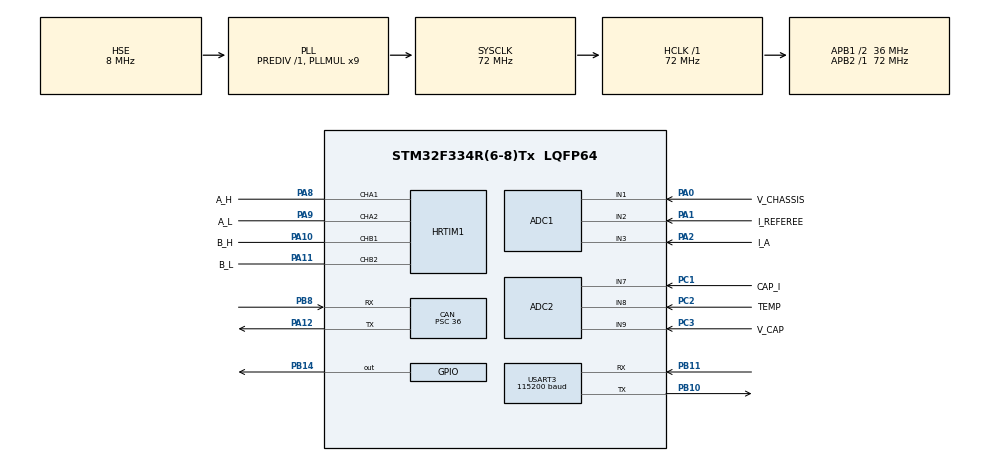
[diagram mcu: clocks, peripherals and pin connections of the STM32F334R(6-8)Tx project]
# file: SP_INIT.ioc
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ADC1.Channel-0\#ChannelRegularConversion=ADC_CHANNEL_1
ADC1.Channel-1\#ChannelRegularConversion=ADC_CHANNEL_2
ADC1.Channel-2\#ChannelRegularConversion=ADC_CHANNEL_3
ADC1.ContinuousConvMode=DISABLE
ADC1.DMAContinuousRequests=ENABLE
ADC1.EOCSelection=ADC_EOC_SEQ_CONV
ADC1.EnableInjectedConversion=ENABLE
ADC1.ExternalTrigConv=ADC_EXTERNALTRIGCONVHRTIM_TRG1
ADC1.NbrOfConversion=3
ADC1.NbrOfConversionFlag=1
ADC1.Offset-0\#ChannelRegularConversion=0
ADC1.Offset-1\#ChannelRegularConversion=0
ADC1.Offset-2\#ChannelRegularConversion=0
ADC1.OffsetNumber-0\#ChannelRegularConversion=ADC_OFFSET_NONE
ADC1.OffsetNumber-1\#ChannelRegularConversion=ADC_OFFSET_NONE
ADC1.OffsetNumber-2\#ChannelRegularConversion=ADC_OFFSET_NONE
ADC1.Rank-0\#ChannelRegularConversion=1
ADC1.Rank-1\#ChannelRegularConversion=2
ADC1.Rank-2\#ChannelRegularConversion=3
ADC1.SamplingTime-0\#ChannelRegularConversion=ADC_SAMPLETIME_7CYCLES_5
ADC1.SamplingTime-1\#ChannelRegularConversion=ADC_SAMPLETIME_7CYCLES_5
ADC1.SamplingTime-2\#ChannelRegularConversion=ADC_SAMPLETIME_7CYCLES_5
ADC1.SubFamily=STM32F334x8
ADC1.master=1
ADC2.Channel-0\#ChannelRegularConversion=ADC_CHANNEL_7
ADC2.Channel-1\#ChannelRegularConversion=ADC_CHANNEL_8
ADC2.Channel-2\#ChannelRegularConversion=ADC_CHANNEL_9
ADC2.DMAContinuousRequests=ENABLE
ADC2.EOCSelection=ADC_EOC_SEQ_CONV
ADC2.ExternalTrigConv=ADC_EXTERNALTRIGCONVHRTIM_TRG3
ADC2.NbrOfConversion=3
ADC2.NbrOfConversionFlag=1
ADC2.Offset-0\#ChannelRegularConversion=0
ADC2.Offset-1\#ChannelRegularConversion=0
ADC2.Offset-2\#ChannelRegularConversion=0
ADC2.OffsetNumber-0\#ChannelRegularConversion=ADC_OFFSET_NONE
ADC2.OffsetNumber-1\#ChannelRegularConversion=ADC_OFFSET_NONE
ADC2.OffsetNumber-2\#ChannelRegularConversion=ADC_OFFSET_NONE
ADC2.Rank-0\#ChannelRegularConversion=1
ADC2.Rank-1\#ChannelRegularConversion=2
ADC2.Rank-2\#ChannelRegularConversion=3
ADC2.SamplingTime-0\#ChannelRegularConversion=ADC_SAMPLETIME_7CYCLES_5
ADC2.SamplingTime-1\#ChannelRegularConversion=ADC_SAMPLETIME_7CYCLES_5
ADC2.SamplingTime-2\#ChannelRegularConversion=ADC_SAMPLETIME_7CYCLES_5
ADC2.SamplingTimeOPAMP-1\#ChannelRegularConversion=ADC_SAMPLETIME_61CYCLES_5
ADC2.SamplingTimeOPAMP-2\#ChannelRegularConversion=ADC_SAMPLETIME_61CYCLES_5
ADC2.SubFamily=STM32F334x8
CAN.BS1=CAN_BS1_8TQ
CAN.CalculateBaudRate=100000
CAN.CalculateTimeBit=10000
CAN.CalculateTimeQuantum=1000.0
CAN.Prescaler=36
Dma.ADC1.0.Direction=DMA_PERIPH_TO_MEMORY
Dma.ADC1.0.Instance=DMA1_Channel1
Dma.ADC1.0.MemDataAlignment=DMA_MDATAALIGN_HALFWORD
Dma.ADC1.0.MemInc=DMA_MINC_ENABLE
Dma.ADC1.0.Mode=DMA_CIRCULAR
Dma.ADC1.0.PeriphDataAlignment=DMA_PDATAALIGN_HALFWORD
Dma.ADC1.0.PeriphInc=DMA_PINC_DISABLE
Dma.ADC1.0.Priority=DMA_PRIORITY_VERY_HIGH
Dma.ADC2.1.Direction=DMA_PERIPH_TO_MEMORY
Dma.ADC2.1.Instance=DMA1_Channel2
Dma.ADC2.1.MemDataAlignment=DMA_MDATAALIGN_HALFWORD
Dma.ADC2.1.MemInc=DMA_MINC_ENABLE
Dma.ADC2.1.Mode=DMA_CIRCULAR
Dma.ADC2.1.PeriphDataAlignment=DMA_PDATAALIGN_HALFWORD
Dma.ADC2.1.PeriphInc=DMA_PINC_DISABLE
Dma.ADC2.1.Priority=DMA_PRIORITY_VERY_HIGH
Dma.Request0=ADC1
Dma.Request1=ADC2
HRTIM1.ADCTrigger1_Source1=HRTIM_ADCTRIGGEREVENT13_TIMERA_CMP2
HRTIM1.ADCTrigger3_Source1=HRTIM_ADCTRIGGEREVENT13_TIMERB_CMP2
HRTIM1.ADCTrigger_Id1=HRTIM_ADCTRIGGER_1
HRTIM1.ADCTrigger_Id2=__NULL
HRTIM1.ADCTrigger_Id3=HRTIM_ADCTRIGGER_3
HRTIM1.CompareUnit1-MasterTimer=__NULL
HRTIM1.CompareUnit1-Output_TA1TA2=HRTIM_COMPAREUNIT_1
HRTIM1.CompareUnit1-Output_TB1TB2=HRTIM_COMPAREUNIT_1
HRTIM1.CompareUnit2-Output_TA1TA2=HRTIM_COMPAREUNIT_2
HRTIM1.CompareUnit2-Output_TB1TB2=HRTIM_COMPAREUNIT_2
HRTIM1.CompareUnit3-MasterTimer=__NULL
HRTIM1.CompareUnit3-Output_TA1TA2=HRTIM_COMPAREUNIT_3
HRTIM1.CompareUnit3-Output_TB1TB2=HRTIM_COMPAREUNIT_3
HRTIM1.CompareValue1-Output_TA1TA2=100
HRTIM1.CompareValue1-Output_TB1TB2=100
HRTIM1.CompareValue2-Output_TA1TA2=180
HRTIM1.CompareValue2-Output_TB1TB2=180
HRTIM1.CompareValue3-Output_TA1TA2=260
HRTIM1.CompareValue3-Output_TB1TB2=260
HRTIM1.DeadTimeInsertion-Output_TA1TA2=HRTIM_TIMDEADTIMEINSERTION_ENABLED
HRTIM1.DeadTimeInsertion-Output_TB1TB2=HRTIM_TIMDEADTIMEINSERTION_ENABLED
HRTIM1.Event_EEV1=__NULL
HRTIM1.FallingValue-Output_TA1TA2=50
HRTIM1.FallingValue-Output_TB1TB2=50
HRTIM1.HRTIMInterruptResquests1=HRTIM_IT_NONE
HRTIM1.IdleMode1-Output_TA1TA2=HRTIM_OUTPUTIDLEMODE_NONE
HRTIM1.InterruptRequests1_Master=HRTIM_MASTER_IT_MREP
HRTIM1.NumberADCTriggerSource1=1
HRTIM1.NumberADCTriggerSource3=1
HRTIM1.NumberInterruptRequests_Master-MasterTimer=1
HRTIM1.NumberResetSource1-Output_TA1TA2=1
HRTIM1.NumberResetSource1-Output_TB1TB2=1
HRTIM1.NumberResetSource2_TA=0
HRTIM1.NumberResetSource2_TB=0
HRTIM1.NumberResetTrigger-Output_TA1TA2=1
HRTIM1.NumberResetTrigger-Output_TB1TB2=1
HRTIM1.NumberSetSource1-Output_TA1TA2=1
HRTIM1.NumberSetSource1-Output_TB1TB2=1
HRTIM1.ORingUpdateSource_ADCTrigger1=HRTIM_ADCTRIGGERUPDATE_MASTER
HRTIM1.Periode_MASTER=360
HRTIM1.Periode_TA=360
HRTIM1.Periode_TB=360
HRTIM1.PreloadEnable-MasterTimer=HRTIM_PRELOAD_ENABLED
HRTIM1.PreloadEnable-Output_TA1TA2=HRTIM_PRELOAD_DISABLED
HRTIM1.RepetitionCounter-MasterTimer=7
HRTIM1.RepetitionUpdate-MasterTimer=HRTIM_UPDATEONREPETITION_ENABLED
HRTIM1.ResetOutput1_Source1-Output_TA1TA2=HRTIM_OUTPUTRESET_TIMCMP3
HRTIM1.ResetOutput1_Source1-Output_TB1TB2=HRTIM_OUTPUTRESET_TIMCMP3
HRTIM1.ResetTrigger1-Output_TA1TA2=HRTIM_TIMRESETTRIGGER_MASTER_PER
HRTIM1.ResetTrigger1-Output_TB1TB2=HRTIM_TIMRESETTRIGGER_MASTER_PER
HRTIM1.ResetUpdate-Output_TB1TB2=HRTIM_TIMUPDATEONRESET_DISABLED
HRTIM1.RisingValue-Output_TA1TA2=50
HRTIM1.RisingValue-Output_TB1TB2=50
HRTIM1.SetOutput1_Source1-Output_TA1TA2=HRTIM_OUTPUTSET_TIMCMP1
HRTIM1.SetOutput1_Source1-Output_TB1TB2=HRTIM_OUTPUTSET_TIMCMP1
Mcu.Family=STM32F3
Mcu.Name=STM32F334R(6-8)Tx
Mcu.Package=LQFP64
NVIC.CAN_RX0_IRQn=true\:0\:0\:false\:false\:true\:true\:true\:true
NVIC.DMA1_Channel1_IRQn=true\:5\:0\:true\:false\:true\:false\:true\:true
NVIC.DMA1_Channel2_IRQn=true\:5\:0\:true\:false\:true\:false\:true\:true
NVIC.HRTIM1_Master_IRQn=true\:0\:0\:false\:false\:true\:true\:true\:true
NVIC.PriorityGroup=NVIC_PRIORITYGROUP_4
NVIC.USART3_IRQn=true\:0\:0\:false\:false\:true\:true\:true\:true
PA0.GPIO_Label=V_CHASSIS
PA0.Mode=IN1-Single-Ended
PA0.Signal=ADC1_IN1
PA1.GPIO_Label=I_REFEREE
PA1.Mode=IN2-Single-Ended
PA1.Signal=ADC1_IN2
PA10.GPIO_Label=B_H
PA10.Mode=Output_TB1TB2
PA10.Signal=HRTIM1_CHB1
PA11.GPIO_Label=B_L
PA11.Mode=Output_TB1TB2
PA11.Signal=HRTIM1_CHB2
PA12.Mode=CAN_Activate
PA12.Signal=CAN_TX
PA13.Mode=Serial_Wire
PA13.Signal=SYS_JTMS-SWDIO
PA14.Mode=Serial_Wire
PA14.Signal=SYS_JTCK-SWCLK
PA2.GPIO_Label=I_A
PA2.Mode=IN3-Single-Ended
PA2.Signal=ADC1_IN3
PA8.GPIO_Label=A_H
PA8.Mode=Output_TA1TA2
PA8.Signal=HRTIM1_CHA1
PA9.GPIO_Label=A_L
PA9.Mode=Output_TA1TA2
PA9.Signal=HRTIM1_CHA2
PB10.Mode=Asynchronous
PB10.Signal=USART3_TX
PB11.Mode=Asynchronous
PB11.Signal=USART3_RX
PB14.Signal=GPIO_Output
PB8.Mode=CAN_Activate
PB8.Signal=CAN_RX
PC1.GPIO_Label=CAP_I
PC1.Signal=ADCx_IN7
PC2.GPIO_Label=TEMP
PC2.Signal=ADCx_IN8
PC3.GPIO_Label=V_CAP
PC3.Signal=ADCx_IN9
PF0\ /\ OSC_IN.Mode=HSE-External-Oscillator
PF0\ /\ OSC_IN.Signal=RCC_OSC_IN
PF1\ /\ OSC_OUT.Mode=HSE-External-Oscillator
PF1\ /\ OSC_OUT.Signal=RCC_OSC_OUT
ProjectManager.HeapSize=0x200
ProjectManager.StackSize=0x400
ProjectManager.TargetToolchain=MDK-ARM V5
RCC.AHBFreq_Value=72000000
RCC.APB1CLKDivider=RCC_HCLK_DIV2
RCC.APB1Freq_Value=36000000
RCC.APB1TimFreq_Value=72000000
RCC.APB2Freq_Value=72000000
RCC.APB2TimFreq_Value=72000000
RCC.CortexFreq_Value=72000000
RCC.HCLKFreq_Value=72000000
RCC.HSE_VALUE=8000000
RCC.HSI_VALUE=8000000
RCC.LSE_VALUE=32768
RCC.PLLMUL=RCC_PLL_MUL9
RCC.PLLSourceVirtual=RCC_PLLSOURCE_HSE
RCC.SYSCLKFreq_VALUE=72000000
RCC.SYSCLKSourceVirtual=RCC_SYSCLKSOURCE_PLLCLK
SH.ADCx_IN7.0=ADC2_IN7,IN7-Single-Ended
SH.ADCx_IN8.0=ADC2_IN8,IN8-Single-Ended
SH.ADCx_IN9.0=ADC2_IN9,IN9-Single-Ended
USART3.BaudRate=115200
USART3.VirtualMode-Asynchronous=VM_ASYNC
VP_HRTIM1_VS_hrtimMasterTimerNoOutput.Mode=MasterTimer
board=custom

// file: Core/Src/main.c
/* USER CODE BEGIN Header */
/**
 ******************************************************************************
 * @file           : main.c
 * @brief          : Main program body
 ******************************************************************************
 * @attention
 *
 * Copyright (c) 2026 STMicroelectronics.
 * All rights reserved.
 *
 * This software is licensed under terms that can be found in the LICENSE file
 * in the root directory of this software component.
 * If no LICENSE file comes with this software, it is provided AS-IS.
 *
 ******************************************************************************
 */
/* USER CODE END Header */
#include "main.h"
#include "adc.h"
#include "can.h"
#include "dma.h"
#include "hrtim.h"
#include "usart.h"
#include "gpio.h"

/* USER CODE BEGIN Includes */
#include "ADC_FUNCTION.h"
#include "PWM_ctrl.h"
#include "CAN_bsp.h"
#include "pid.h"
#include "cap_charge.h"
#include "string.h"
#include "math.h"
/* USER CODE END Includes */

/* USER CODE BEGIN PV */
#define TIMERA_PERIOD 360U // pwm周期tick值

#define CHARGE_CURRENT 3.0f  // 3.0f
#define OUTPUT_VOLTAGE 24.0f // 两个是pid目标，对应充放电的时候

#define CTRL_PWM_START_TICKS (2U) // 可按示波器观测调整：1~10 都可以，防止0u的时候打不开pwm输出，加上偏移

extern uint16_t adc1_raw_data[3]; // ADC1: [0]=V_CHASSIS [1]=I_REFEREE [2]=I_CHASSIS  //裁判系统视为恒压源24V
extern uint16_t adc2_raw_data[3]; // ADC2: [0]=CAP_I     [1]=TEMP      [2]=V_CAP      //温度用不到，不管

extern volatile float RE_V_CHASSIS; // 底盘电压
extern volatile float RE_V_CAP;     // 电容电压
extern volatile float RE_I_REFEREE; // 裁判系统电流
extern volatile float RE_I_CHASSIS; // 底盘电流
extern volatile float RE_CAP_I;     // 电容电流
extern volatile float TEMP;         // 温度通道

volatile unsigned long g_dbg_main_heartbeat = 0;
volatile unsigned long g_dbg_hrtim_irq_seen = 0;
volatile unsigned char g_dbg_pwm_outputs_enabled = 0;
volatile unsigned long g_dbg_hrtim_master_cnt = 0;

extern CAN_HandleTypeDef hcan;
extern HRTIM_HandleTypeDef hhrtim1;

PID_TypeDef pid_charge;    // 充电恒流控制
PID_TypeDef pid_discharge; // 放电恒压控制
/* USER CODE END PV */

void SystemClock_Config(void);

int main(void)
{

  /* MCU Configuration--------------------------------------------------------*/

  /* Reset of all peripherals, Initializes the Flash interface and the Systick. */
  HAL_Init();

  /* Configure the system clock */
  SystemClock_Config();

  /* Initialize all configured peripherals */
  MX_GPIO_Init();
  MX_DMA_Init();
  MX_HRTIM1_Init();
  MX_ADC1_Init();
  MX_ADC2_Init();
  MX_CAN_Init();
  MX_USART3_UART_Init();
  /* USER CODE BEGIN 2 */
  can_filter_init();

  ADCF_Init();
  ADCF_Start();

  CAP_Init(); // 初始化安全值

  PID_InitAll();

  HRTIM_UpdateHighDuty(0.0f, 0.0f);

  if (HAL_HRTIM_WaveformCounterStart_IT(&hhrtim1,
                                        HRTIM_TIMERID_MASTER | HRTIM_TIMERID_TIMER_A | HRTIM_TIMERID_TIMER_B) != HAL_OK)
  {
    Error_Handler();
  }

  HAL_HRTIM_WaveformOutputStart(&hhrtim1, HRTIM_OUTPUT_TA1 | HRTIM_OUTPUT_TA2 | HRTIM_OUTPUT_TB1 | HRTIM_OUTPUT_TB2);
  /* USER CODE END 2 */

  /* Infinite loop */
  /* USER CODE BEGIN WHILE */
  while (1)
  {
    PID_InitAll();

    uint32_t last_uart_tick = 0;
    static uint8_t send_data[24];
    static float current_duty = 0.0f;

    // 进入充电阶段前，等待外部电源真正接通
    // 避免放电结束退出后，电源还没接好就进入闭环从而导致积分器死锁或短路保护
    while (1)
    {
      if (ADC_Process())
      {
        HRTIM_UpdateHighDuty(0.0f, 0.0f);
        if (RE_V_CHASSIS >= 23.5f)
        {
          PID_InitAll(); // 接通瞬间立刻清空积分，防止突变
          break;
        }
      }

      uint32_t current_tick = HAL_GetTick();
      if (current_tick - last_uart_tick >= 10)
      {
        last_uart_tick = current_tick;
        float cap_i = RE_CAP_I;
        float cap_v = RE_V_CAP;
        float zero_duty = 0.0f;
        uint8_t tail[4] = {0x00, 0x00, 0x80, 0x7F};
        memcpy(&send_data[0], &zero_duty, 4);
        memcpy(&send_data[4], &cap_i, 4);
        memcpy(&send_data[8], &cap_v, 4);
        memcpy(&send_data[20], tail, 4);
        if (huart3.gState == HAL_UART_STATE_READY)
        {
          HAL_UART_Transmit_IT(&huart3, send_data, sizeof(send_data));
        }
      }
    }

    // 充电逻辑
    while (1)
    {
      // 只有当ADC完成了8次采样平均（25kHz频率）后，才执行一次PID控制
      if (ADC_Process())
      {
        // 这一行写数据侦测，也就是保护
        if ((RE_V_CAP >= 26.0f) || (RE_CAP_I >= 25.0f) || (RE_CAP_I <= -25.0f))
        {
          // 锁存，本次放弃使用超电
          HAL_HRTIM_WaveformOutputStop(&hhrtim1, HRTIM_OUTPUT_TA1 | HRTIM_OUTPUT_TA2 |
                                                     HRTIM_OUTPUT_TB1 | HRTIM_OUTPUT_TB2);
          Error_Handler();
        }

        // 恒流充电 PID 控制 (25kHz)
        float pid_out = PID_Calculate(&pid_charge, -RE_CAP_I, CHARGE_CURRENT);

        // 【解决带电启动反灌问题】前馈控制：计算当前电容与底盘的理论平衡占空比
        float v_in = (RE_V_CHASSIS > 10.0f) ? RE_V_CHASSIS : 24.0f;
        float duty_ff = RE_V_CAP / v_in;
        if (duty_ff > 0.95f)
          duty_ff = 0.95f;
        if (duty_ff < 0.0f)
          duty_ff = 0.0f;

        // 实际占空比 = 前馈平衡占空比 + PID微调
        current_duty = PID_Output_To_Duty(&pid_charge, pid_out) + duty_ff;
        if (current_duty > 1.0f)
          current_duty = 1.0f;
        if (current_duty < 0.0f)
          current_duty = 0.0f;

        float a_high, b_high;
        Charge_buck(current_duty, &a_high, &b_high);
        HRTIM_UpdateHighDuty(a_high, b_high);
      }

      // 非阻塞定时发送串口数据，100Hz (10ms一次)，不再阻塞主循环
      uint32_t current_tick = HAL_GetTick();
      if (current_tick - last_uart_tick >= 10)
      {
        last_uart_tick = current_tick;

        float cap_i = RE_CAP_I;
        float cap_v = RE_V_CAP;
        uint8_t tail[4] = {0x00, 0x00, 0x80, 0x7F};
        memcpy(&send_data[0], &current_duty, 4);
        memcpy(&send_data[4], &cap_i, 4);
        memcpy(&send_data[8], &cap_v, 4);
        memcpy(&send_data[20], tail, 4);
        // 使用IT非阻塞发送，如果此时没发完会返回Busy，但由于10ms远大于发送需要的1ms，基本不会冲突
        if (huart3.gState == HAL_UART_STATE_READY)
        {
          HAL_UART_Transmit_IT(&huart3, send_data, sizeof(send_data));
        }
      }

      // 这一行数据侦测，但是是电容组的电压，到24v停止充电，break进入轮询（等待冲刺模式下发）
      if (RE_V_CAP >= 23.5f)
      {
        break;
      }
      // 完全移除 HAL_Delay(1); 让主循环始终以最高速检测 ADC 完成标志
    }

    // 等待can的消息控制

    PID_InitAll();

    uint32_t last_uart_tick_dis = 0;
    static float current_duty_dis = 1.0f; // 初始占空比 1.0 (不起压，直通状态)

    // 放电逻辑
    while (1)
    {
      // 第二个循环：恒压输出放电，25kHz同步控制
      if (ADC_Process())
      {
        // 依旧保留致命硬件级保护：
        if ((RE_V_CAP >= 26.0f) || (RE_CAP_I >= 25.0f) || (RE_CAP_I <= -25.0f))
        {
          // 锁存，本次放弃使用超电
          HAL_HRTIM_WaveformOutputStop(&hhrtim1, HRTIM_OUTPUT_TA1 | HRTIM_OUTPUT_TA2 |
                                                     HRTIM_OUTPUT_TB1 | HRTIM_OUTPUT_TB2);
          Error_Handler();
        }

        // 业务保护：放电电容电压过低 或 电流绝对值超过15A
        float abs_cap_i = (RE_CAP_I > 0) ? RE_CAP_I : -RE_CAP_I;
        if (RE_V_CAP <= 10.0f || abs_cap_i >= 15.0f)
        {
          // 退出放电循环，回到重新充电阶段
          break;
        }

        // 这一行写pid控制恒定电压输出，boost模式。
        // 目标是 OUTPUT_VOLTAGE (24V), 当前测量为 RE_V_CHASSIS
        float pid_out = PID_Calculate(&pid_discharge, RE_V_CHASSIS, OUTPUT_VOLTAGE);

        // 根据 Boost 逻辑：B端占空比d越大，升压越小。最大升压幅度受到限制。
        // 如果欠压了（Measure < Target），误差Err > 0，pid_out增大
        // 我们需要它增大的时候，占空比d反而减小进而提升电压。
        float duty_reduction = PID_Output_To_Duty(&pid_discharge, pid_out);
        current_duty_dis = 1.0f - duty_reduction;

        // 底线安全占空比限制：不要让它降得太低（例如低于0.2等同于五倍的暴力升压，非常危险）
        if (current_duty_dis < 0.2f)
          current_duty_dis = 0.2f;
        if (current_duty_dis > 1.0f)
          current_duty_dis = 1.0f;

        float a_high, b_high;
        Output_boost(current_duty_dis, &a_high, &b_high);
        HRTIM_UpdateHighDuty(a_high, b_high);
      }

      // 非阻塞定时发送串口数据
      uint32_t current_tick = HAL_GetTick();
      if (current_tick - last_uart_tick_dis >= 10)
      {
        last_uart_tick_dis = current_tick;

        float cap_i = RE_CAP_I;
        float cap_v = RE_V_CAP;
        // 放电时主看恒压输出能力，传出 chassis_v
        float chassis_v = RE_V_CHASSIS;
        float chassis_i = RE_I_CHASSIS;

        uint8_t tail[4] = {0x00, 0x00, 0x80, 0x7F};

        memcpy(&send_data[0], &current_duty_dis, 4);
        memcpy(&send_data[4], &cap_i, 4);
        memcpy(&send_data[8], &cap_v, 4);
        memcpy(&send_data[12], &chassis_v, 4);
        memcpy(&send_data[16], &chassis_i, 4);
        memcpy(&send_data[20], tail, 4);

        if (huart3.gState == HAL_UART_STATE_READY)
        {
          HAL_UART_Transmit_IT(&huart3, send_data, sizeof(send_data));
        }
      }
    }
    /* USER CODE END WHILE */

  }
}

void SystemClock_Config(void)
{
  RCC_OscInitTypeDef RCC_OscInitStruct = {0};
  RCC_ClkInitTypeDef RCC_ClkInitStruct = {0};
  RCC_PeriphCLKInitTypeDef PeriphClkInit = {0};

  /** Initializes the RCC Oscillators according to the specified parameters
   * in the RCC_OscInitTypeDef structure.
   */
  RCC_OscInitStruct.OscillatorType = RCC_OSCILLATORTYPE_HSE;
  RCC_OscInitStruct.HSEState = RCC_HSE_ON;
  RCC_OscInitStruct.HSEPredivValue = RCC_HSE_PREDIV_DIV1;
  RCC_OscInitStruct.HSIState = RCC_HSI_ON;
  RCC_OscInitStruct.PLL.PLLState = RCC_PLL_ON;
  RCC_OscInitStruct.PLL.PLLSource = RCC_PLLSOURCE_HSE;
  RCC_OscInitStruct.PLL.PLLMUL = RCC_PLL_MUL9;
  if (HAL_RCC_OscConfig(&RCC_OscInitStruct) != HAL_OK)
  {
    Error_Handler();
  }

  /** Initializes the CPU, AHB and APB buses clocks
   */
  RCC_ClkInitStruct.ClockType = RCC_CLOCKTYPE_HCLK | RCC_CLOCKTYPE_SYSCLK | RCC_CLOCKTYPE_PCLK1 | RCC_CLOCKTYPE_PCLK2;
  RCC_ClkInitStruct.SYSCLKSource = RCC_SYSCLKSOURCE_PLLCLK;
  RCC_ClkInitStruct.AHBCLKDivider = RCC_SYSCLK_DIV1;
  RCC_ClkInitStruct.APB1CLKDivider = RCC_HCLK_DIV2;
  RCC_ClkInitStruct.APB2CLKDivider = RCC_HCLK_DIV1;

  if (HAL_RCC_ClockConfig(&RCC_ClkInitStruct, FLASH_LATENCY_2) != HAL_OK)
  {
    Error_Handler();
  }
  PeriphClkInit.PeriphClockSelection = RCC_PERIPHCLK_HRTIM1 | RCC_PERIPHCLK_ADC12;
  PeriphClkInit.Adc12ClockSelection = RCC_ADC12PLLCLK_DIV1;
  PeriphClkInit.Hrtim1ClockSelection = RCC_HRTIM1CLK_HCLK;
  if (HAL_RCCEx_PeriphCLKConfig(&PeriphClkInit) != HAL_OK)
  {
    Error_Handler();
  }
}

/* USER CODE BEGIN 4 */
void HAL_CAN_RxFifo1MsgPendingCallback(CAN_HandleTypeDef *hcan)
{
  CAN_RxHeaderTypeDef rx_header;
  uint8_t rx_data[8];
  HAL_CAN_GetRxMessage(hcan, CAN_RX_FIFO0, &rx_header, rx_data);

  switch (rx_header.StdId)
  {
  case 0x009:
  {
  }
  break;
  }

  ADC_Process();

  // 计算功率
  float chassis_power = RE_V_CHASSIS * RE_I_CHASSIS; // 底盘功率 (W)
  float referee_power = 24.0f * RE_I_REFEREE;        // 裁判系统功率，按恒压24V计算

  uint8_t can_data[8] = {0};

  memcpy(can_data, &chassis_power, 4);
  memcpy(can_data + 4, &referee_power, 4);

  CAN_TxHeaderTypeDef tx_header;
  tx_header.StdId = 0x010;
  tx_header.ExtId = 0;
  tx_header.RTR = CAN_RTR_DATA;
  tx_header.IDE = CAN_ID_STD; // 标准帧
  tx_header.DLC = 8;
  tx_header.TransmitGlobalTime = DISABLE;

  uint32_t tx_mailbox;
  HAL_CAN_AddTxMessage(hcan, &tx_header, can_data, &tx_mailbox);
}

void PID_InitAll(void)
{
  // 充电：电流控制，目标电流 2.0A，反馈范围 0~3A
  // max_out 设为 1000，积分满量程应当允许推到 1000（即 100% 占空比）
  PID_Init(&pid_charge,
           5.0f,                                                 // kp (降低以避免启动过冲占空比)
           0.02f,                                                // ki (25kHz下，0.02每秒积分积聚约 500，可实现 2 秒内稳定软爬坡)
           0.0f,                                                 // kd (电流环不建议用D)
           1000,                                                 // max_out   (对应 1.0 的满占空比)
           200,                                                  // integral_limit (因为加入了前馈，积分仅用于微调补偿死区和压降，限20%) (修改为1000！否则积分上限卡在500意味着只有最大50%的占空比！)
           0.01f,                                                // deadband  (死区)
           10.0f,                                                // A (变积分系数A)
           5.0f,                                                 // B (变积分系数B)
           0.9f,                                                 // output_filtering_coefficient (输出滤波)
           0.8f,                                                 // derivative_filtering_coefficient (微分滤波)
           Integral_Limit | Trapezoid_Intergral | OutputFilter); // 开启的改进项

  // 放电：电压控制，目标电压 24.0V
  // 为了适配 25kHz 高频控制并避免升压失控，调整如下
  PID_Init(&pid_discharge,
           5.0f,  // kp (增加以快速响应负载跌落)
           0.02f, // ki (高频采样下微调以缓慢吃平误差，防止积分暴走)
           0.0f,  // kd (外环尽量不用微分)
           1000,  // max_out (全量程映射)
           800,   // integral_limit (限制最高占空比降幅，给输出保留安全底线)
           0.05f, // deadband (死区，避免轻微波动引起占空比反复拉扯)
           10.0f, // A
           5.0f,  // B
           0.9f,  // output_filtering_coefficient
           0.8f,  // derivative_filtering_coefficient
           Integral_Limit | Trapezoid_Intergral | OutputFilter);
}
/**
 * @brief 将 PID 输出（范围 -max_out ~ max_out）映射到占空比（0~1）
 * @param pid     PID 实例指针
 * @param output  PID_Calculate 的返回值
 * @return 占空比（0.0 ~ 1.0）
 */
static inline float PID_Output_To_Duty(PID_TypeDef *pid, float output)
{
  // 修改原先的半桥映射(0输出对应50%占空比)，改为单极Buck/Boost映射(0输出对应0%占空比)。
  float duty = output / pid->MaxOut;
  if (duty < 0.0f)
    duty = 0.0f;
  if (duty > 1.0f)
    duty = 1.0f;
  return duty;
}

/* USER CODE END 4 */

void Error_Handler(void)
{
  __disable_irq();
  while (1)
  {
  }
}
